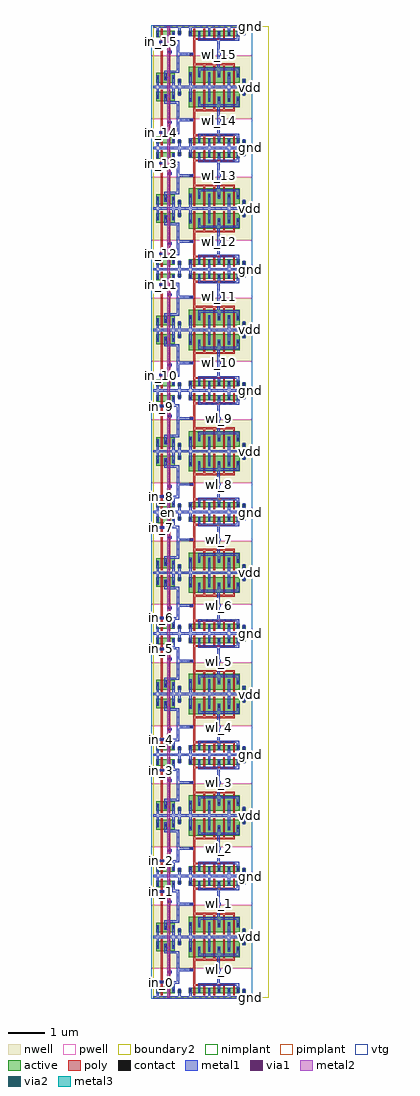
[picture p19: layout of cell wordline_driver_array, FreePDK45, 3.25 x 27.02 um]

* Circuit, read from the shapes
.subckt wordline_driver_array en gnd in_0 in_1 in_10 in_11 in_12 in_13 in_14 in_15 in_2 in_3 in_4 in_5 in_6 in_7 in_8 in_9 vdd wl_0 wl_1 wl_10 wl_11 wl_12 wl_13 wl_14 wl_15 wl_2 wl_3 wl_4 wl_5 wl_6 wl_7 wl_8 wl_9
M1 wordline_driver_0/pnand2_0/nmos_m1_w0_180_sm1_dactive_2/D in_0 gnd gnd nfet w=0.18u l=0.05u
M2 wordline_driver_1/pnand2_0/nmos_m1_w0_180_sm1_dactive_2/D in_1 gnd gnd nfet w=0.18u l=0.05u
M3 wordline_driver_2/pnand2_0/nmos_m1_w0_180_sm1_dactive_2/D in_2 gnd gnd nfet w=0.18u l=0.05u
M4 wordline_driver_3/pnand2_0/nmos_m1_w0_180_sm1_dactive_2/D in_3 gnd gnd nfet w=0.18u l=0.05u
M5 wordline_driver_4/pnand2_0/nmos_m1_w0_180_sm1_dactive_2/D in_4 gnd gnd nfet w=0.18u l=0.05u
M6 wordline_driver_5/pnand2_0/nmos_m1_w0_180_sm1_dactive_2/D in_5 gnd gnd nfet w=0.18u l=0.05u
M7 wordline_driver_6/pnand2_0/nmos_m1_w0_180_sm1_dactive_2/D in_6 gnd gnd nfet w=0.18u l=0.05u
M8 wordline_driver_7/pnand2_0/nmos_m1_w0_180_sm1_dactive_2/D in_7 gnd gnd nfet w=0.18u l=0.05u
M9 wordline_driver_8/pnand2_0/nmos_m1_w0_180_sm1_dactive_2/D in_8 gnd gnd nfet w=0.18u l=0.05u
M10 wordline_driver_9/pnand2_0/nmos_m1_w0_180_sm1_dactive_2/D in_9 gnd gnd nfet w=0.18u l=0.05u
M11 wordline_driver_10/pnand2_0/nmos_m1_w0_180_sm1_dactive_2/D in_10 gnd gnd nfet w=0.18u l=0.05u
M12 wordline_driver_11/pnand2_0/nmos_m1_w0_180_sm1_dactive_2/D in_11 gnd gnd nfet w=0.18u l=0.05u
M13 wordline_driver_12/pnand2_0/nmos_m1_w0_180_sm1_dactive_2/D in_12 gnd gnd nfet w=0.18u l=0.05u
M14 wordline_driver_13/pnand2_0/nmos_m1_w0_180_sm1_dactive_2/D in_13 gnd gnd nfet w=0.18u l=0.05u
M15 wordline_driver_14/pnand2_0/nmos_m1_w0_180_sm1_dactive_2/D in_14 gnd gnd nfet w=0.18u l=0.05u
M16 wordline_driver_15/pnand2_0/nmos_m1_w0_180_sm1_dactive_2/D in_15 gnd gnd nfet w=0.18u l=0.05u
M17 wordline_driver_0/pinv_0_1/A en wordline_driver_0/pnand2_0/nmos_m1_w0_180_sm1_dactive_2/D gnd nfet w=0.18u l=0.05u
M18 wordline_driver_1/pinv_0_1/A en wordline_driver_1/pnand2_0/nmos_m1_w0_180_sm1_dactive_2/D gnd nfet w=0.18u l=0.05u
M19 wordline_driver_2/pinv_0_1/A en wordline_driver_2/pnand2_0/nmos_m1_w0_180_sm1_dactive_2/D gnd nfet w=0.18u l=0.05u
M20 wordline_driver_3/pinv_0_1/A en wordline_driver_3/pnand2_0/nmos_m1_w0_180_sm1_dactive_2/D gnd nfet w=0.18u l=0.05u
M21 wordline_driver_4/pinv_0_1/A en wordline_driver_4/pnand2_0/nmos_m1_w0_180_sm1_dactive_2/D gnd nfet w=0.18u l=0.05u
M22 wordline_driver_5/pinv_0_1/A en wordline_driver_5/pnand2_0/nmos_m1_w0_180_sm1_dactive_2/D gnd nfet w=0.18u l=0.05u
M23 wordline_driver_6/pinv_0_1/A en wordline_driver_6/pnand2_0/nmos_m1_w0_180_sm1_dactive_2/D gnd nfet w=0.18u l=0.05u
M24 wordline_driver_7/pinv_0_1/A en wordline_driver_7/pnand2_0/nmos_m1_w0_180_sm1_dactive_2/D gnd nfet w=0.18u l=0.05u
M25 wordline_driver_8/pinv_0_1/A en wordline_driver_8/pnand2_0/nmos_m1_w0_180_sm1_dactive_2/D gnd nfet w=0.18u l=0.05u
M26 wordline_driver_9/pinv_0_1/A en wordline_driver_9/pnand2_0/nmos_m1_w0_180_sm1_dactive_2/D gnd nfet w=0.18u l=0.05u
M27 wordline_driver_10/pinv_0_1/A en wordline_driver_10/pnand2_0/nmos_m1_w0_180_sm1_dactive_2/D gnd nfet w=0.18u l=0.05u
M28 wordline_driver_11/pinv_0_1/A en wordline_driver_11/pnand2_0/nmos_m1_w0_180_sm1_dactive_2/D gnd nfet w=0.18u l=0.05u
M29 wordline_driver_12/pinv_0_1/A en wordline_driver_12/pnand2_0/nmos_m1_w0_180_sm1_dactive_2/D gnd nfet w=0.18u l=0.05u
M30 wordline_driver_13/pinv_0_1/A en wordline_driver_13/pnand2_0/nmos_m1_w0_180_sm1_dactive_2/D gnd nfet w=0.18u l=0.05u
M31 wordline_driver_14/pinv_0_1/A en wordline_driver_14/pnand2_0/nmos_m1_w0_180_sm1_dactive_2/D gnd nfet w=0.18u l=0.05u
M32 wordline_driver_15/pinv_0_1/A en wordline_driver_15/pnand2_0/nmos_m1_w0_180_sm1_dactive_2/D gnd nfet w=0.18u l=0.05u
M33 wl_0 wordline_driver_0/pinv_0_1/A gnd gnd nfet w=0.145u l=0.05u m=5
M34 wl_1 wordline_driver_1/pinv_0_1/A gnd gnd nfet w=0.145u l=0.05u m=5
M35 wl_2 wordline_driver_2/pinv_0_1/A gnd gnd nfet w=0.145u l=0.05u m=5
M36 wl_3 wordline_driver_3/pinv_0_1/A gnd gnd nfet w=0.145u l=0.05u m=5
M37 wl_4 wordline_driver_4/pinv_0_1/A gnd gnd nfet w=0.145u l=0.05u m=5
M38 wl_5 wordline_driver_5/pinv_0_1/A gnd gnd nfet w=0.145u l=0.05u m=5
M39 wl_6 wordline_driver_6/pinv_0_1/A gnd gnd nfet w=0.145u l=0.05u m=5
M40 wl_7 wordline_driver_7/pinv_0_1/A gnd gnd nfet w=0.145u l=0.05u m=5
M41 wl_8 wordline_driver_8/pinv_0_1/A gnd gnd nfet w=0.145u l=0.05u m=5
M42 wl_9 wordline_driver_9/pinv_0_1/A gnd gnd nfet w=0.145u l=0.05u m=5
M43 wl_10 wordline_driver_10/pinv_0_1/A gnd gnd nfet w=0.145u l=0.05u m=5
M44 wl_11 wordline_driver_11/pinv_0_1/A gnd gnd nfet w=0.145u l=0.05u m=5
M45 wl_12 wordline_driver_12/pinv_0_1/A gnd gnd nfet w=0.145u l=0.05u m=5
M46 wl_13 wordline_driver_13/pinv_0_1/A gnd gnd nfet w=0.145u l=0.05u m=5
M47 wl_14 wordline_driver_14/pinv_0_1/A gnd gnd nfet w=0.145u l=0.05u m=5
M48 wl_15 wordline_driver_15/pinv_0_1/A gnd gnd nfet w=0.145u l=0.05u m=5
M49 wordline_driver_0/pinv_0_1/A in_0 vdd vdd pfet w=0.27u l=0.05u
M50 wordline_driver_1/pinv_0_1/A in_1 vdd vdd pfet w=0.27u l=0.05u
M51 wordline_driver_2/pinv_0_1/A in_2 vdd vdd pfet w=0.27u l=0.05u
M52 wordline_driver_3/pinv_0_1/A in_3 vdd vdd pfet w=0.27u l=0.05u
M53 wordline_driver_4/pinv_0_1/A in_4 vdd vdd pfet w=0.27u l=0.05u
M54 wordline_driver_5/pinv_0_1/A in_5 vdd vdd pfet w=0.27u l=0.05u
M55 wordline_driver_6/pinv_0_1/A in_6 vdd vdd pfet w=0.27u l=0.05u
M56 wordline_driver_7/pinv_0_1/A in_7 vdd vdd pfet w=0.27u l=0.05u
M57 wordline_driver_8/pinv_0_1/A in_8 vdd vdd pfet w=0.27u l=0.05u
M58 wordline_driver_9/pinv_0_1/A in_9 vdd vdd pfet w=0.27u l=0.05u
M59 wordline_driver_10/pinv_0_1/A in_10 vdd vdd pfet w=0.27u l=0.05u
M60 wordline_driver_11/pinv_0_1/A in_11 vdd vdd pfet w=0.27u l=0.05u
M61 wordline_driver_12/pinv_0_1/A in_12 vdd vdd pfet w=0.27u l=0.05u
M62 wordline_driver_13/pinv_0_1/A in_13 vdd vdd pfet w=0.27u l=0.05u
M63 wordline_driver_14/pinv_0_1/A in_14 vdd vdd pfet w=0.27u l=0.05u
M64 wordline_driver_15/pinv_0_1/A in_15 vdd vdd pfet w=0.27u l=0.05u
M65 vdd en wordline_driver_0/pinv_0_1/A vdd pfet w=0.27u l=0.05u
M66 vdd en wordline_driver_1/pinv_0_1/A vdd pfet w=0.27u l=0.05u
M67 vdd en wordline_driver_2/pinv_0_1/A vdd pfet w=0.27u l=0.05u
M68 vdd en wordline_driver_3/pinv_0_1/A vdd pfet w=0.27u l=0.05u
M69 vdd en wordline_driver_4/pinv_0_1/A vdd pfet w=0.27u l=0.05u
M70 vdd en wordline_driver_5/pinv_0_1/A vdd pfet w=0.27u l=0.05u
M71 vdd en wordline_driver_6/pinv_0_1/A vdd pfet w=0.27u l=0.05u
M72 vdd en wordline_driver_7/pinv_0_1/A vdd pfet w=0.27u l=0.05u
M73 vdd en wordline_driver_8/pinv_0_1/A vdd pfet w=0.27u l=0.05u
M74 vdd en wordline_driver_9/pinv_0_1/A vdd pfet w=0.27u l=0.05u
M75 vdd en wordline_driver_10/pinv_0_1/A vdd pfet w=0.27u l=0.05u
M76 vdd en wordline_driver_11/pinv_0_1/A vdd pfet w=0.27u l=0.05u
M77 vdd en wordline_driver_12/pinv_0_1/A vdd pfet w=0.27u l=0.05u
M78 vdd en wordline_driver_13/pinv_0_1/A vdd pfet w=0.27u l=0.05u
M79 vdd en wordline_driver_14/pinv_0_1/A vdd pfet w=0.27u l=0.05u
M80 vdd en wordline_driver_15/pinv_0_1/A vdd pfet w=0.27u l=0.05u
M81 wl_0 wordline_driver_0/pinv_0_1/A vdd vdd pfet w=0.4325u l=0.05u m=5
M82 wl_1 wordline_driver_1/pinv_0_1/A vdd vdd pfet w=0.4325u l=0.05u m=5
M83 wl_2 wordline_driver_2/pinv_0_1/A vdd vdd pfet w=0.4325u l=0.05u m=5
M84 wl_3 wordline_driver_3/pinv_0_1/A vdd vdd pfet w=0.4325u l=0.05u m=5
M85 wl_4 wordline_driver_4/pinv_0_1/A vdd vdd pfet w=0.4325u l=0.05u m=5
M86 wl_5 wordline_driver_5/pinv_0_1/A vdd vdd pfet w=0.4325u l=0.05u m=5
M87 wl_6 wordline_driver_6/pinv_0_1/A vdd vdd pfet w=0.4325u l=0.05u m=5
M88 wl_7 wordline_driver_7/pinv_0_1/A vdd vdd pfet w=0.4325u l=0.05u m=5
M89 wl_8 wordline_driver_8/pinv_0_1/A vdd vdd pfet w=0.4325u l=0.05u m=5
M90 wl_9 wordline_driver_9/pinv_0_1/A vdd vdd pfet w=0.4325u l=0.05u m=5
M91 wl_10 wordline_driver_10/pinv_0_1/A vdd vdd pfet w=0.4325u l=0.05u m=5
M92 wl_11 wordline_driver_11/pinv_0_1/A vdd vdd pfet w=0.4325u l=0.05u m=5
M93 wl_12 wordline_driver_12/pinv_0_1/A vdd vdd pfet w=0.4325u l=0.05u m=5
M94 wl_13 wordline_driver_13/pinv_0_1/A vdd vdd pfet w=0.4325u l=0.05u m=5
M95 wl_14 wordline_driver_14/pinv_0_1/A vdd vdd pfet w=0.4325u l=0.05u m=5
M96 wl_15 wordline_driver_15/pinv_0_1/A vdd vdd pfet w=0.4325u l=0.05u m=5
.ends

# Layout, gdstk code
import gdstk
lib = gdstk.Library(unit=1e-6, precision=5e-10)
def R(c, l, rs):  # rectangles x0, y0, x1, y1
    for r in rs: c.add(gdstk.rectangle(r[:2], r[2:], *l))
def A(c, l, x, y, w, h, nx, ny, dx, dy):  # array of equal rectangles
    R(c, l, [(x+i*dx, y+j*dy, x+i*dx+w, y+j*dy+h) for i in range(nx) for j in range(ny)])
active = (1, 0)
pwell = (2, 0)
nwell = (3, 0)
nimplant = (4, 0)
pimplant = (5, 0)
vtg = (6, 0)
poly = (9, 0)
contact = (10, 0)
metal1 = (11, 0)
via1 = (12, 0)
metal2 = (13, 0)
via2 = (14, 0)
metal3 = (15, 0)
boundary2 = (239, 0)

contact_10 = lib.new_cell('contact_10')
R(contact_10, active, [(0,0.0225,0.09,0.1125)])
R(contact_10, nwell, [(-0.055,-0.0325,0.145,0.1675)])
R(contact_10, pimplant, [(0,0.0225,0.09,0.1125)])
R(contact_10, contact, [(0.0125,0.035,0.0775,0.1)])
R(contact_10, metal1, [(0.0125,0,0.0775,0.135)])
R(contact_10, boundary2, [(-0.055,-0.0325,0.145,0.1675)])

pmos_m1_w0_270_sm1_dm1 = lib.new_cell('pmos_m1_w0_270_sm1_dm1')
R(pmos_m1_w0_270_sm1_dm1, active, [(0,0,0.305,0.27)])
R(pmos_m1_w0_270_sm1_dm1, nwell, [(-0.08,-0.08,0.385,0.35)])
R(pmos_m1_w0_270_sm1_dm1, pimplant, [(0,0,0.305,0.27)])
R(pmos_m1_w0_270_sm1_dm1, vtg, [(-0.08,-0.08,0.385,0.35)])
R(pmos_m1_w0_270_sm1_dm1, poly, [(0.1275,-0.055,0.1775,0.325), (0.1275,-0.055,0.1775,0.325)])
R(pmos_m1_w0_270_sm1_dm1, metal1, [(0.0125,0.0675,0.0775,0.2025), (0.2275,0.0675,0.2925,0.2025)])
R(pmos_m1_w0_270_sm1_dm1, boundary2, [(-0.08,-0.08,0.385,0.35)])
pmos_m1_w0_270_sm1_dm1.add(gdstk.Reference(contact_10, (0,0.0675)))
pmos_m1_w0_270_sm1_dm1.add(gdstk.Reference(contact_10, (0.215,0.0675)))
pmos_m1_w0_270_sm1_dm1.add(gdstk.Label('G', (0.1525,0.135), layer=9, texttype=0))
pmos_m1_w0_270_sm1_dm1.add(gdstk.Label('S', (0.045,0.135), layer=11, texttype=0))
pmos_m1_w0_270_sm1_dm1.add(gdstk.Label('D', (0.26,0.135), layer=11, texttype=0))

contact_9 = lib.new_cell('contact_9')
R(contact_9, active, [(0,0.0225,0.09,0.1125)])
R(contact_9, pwell, [(-0.055,-0.0325,0.145,0.1675)])
R(contact_9, nimplant, [(0,0.0225,0.09,0.1125)])
R(contact_9, contact, [(0.0125,0.035,0.0775,0.1)])
R(contact_9, metal1, [(0.0125,0,0.0775,0.135)])
R(contact_9, boundary2, [(-0.055,-0.0325,0.145,0.1675)])

nmos_m1_w0_180_sm1_dacti = lib.new_cell('nmos_m1_w0_180_sm1_dactive')
R(nmos_m1_w0_180_sm1_dacti, active, [(0,0,0.305,0.18), (0.215,0.045,0.305,0.135)])
R(nmos_m1_w0_180_sm1_dacti, pwell, [(-0.08,-0.08,0.385,0.26)])
R(nmos_m1_w0_180_sm1_dacti, nimplant, [(0,0,0.305,0.18)])
R(nmos_m1_w0_180_sm1_dacti, vtg, [(-0.08,-0.08,0.385,0.26)])
R(nmos_m1_w0_180_sm1_dacti, poly, [(0.1275,-0.055,0.1775,0.235), (0.1275,-0.055,0.1775,0.235)])
R(nmos_m1_w0_180_sm1_dacti, metal1, [(0.0125,0.0225,0.0775,0.1575)])
R(nmos_m1_w0_180_sm1_dacti, boundary2, [(-0.08,-0.08,0.385,0.26)])
nmos_m1_w0_180_sm1_dacti.add(gdstk.Reference(contact_9, (0,0.0225)))
nmos_m1_w0_180_sm1_dacti.add(gdstk.Label('G', (0.1525,0.09), layer=9, texttype=0))
nmos_m1_w0_180_sm1_dacti.add(gdstk.Label('S', (0.045,0.09), layer=11, texttype=0))
nmos_m1_w0_180_sm1_dacti.add(gdstk.Label('D', (0.26,0.09), layer=1, texttype=0))

nmos_m1_w0_180_sactive_d = lib.new_cell('nmos_m1_w0_180_sactive_dm1')
R(nmos_m1_w0_180_sactive_d, active, [(0,0,0.305,0.18), (0,0.045,0.09,0.135)])
R(nmos_m1_w0_180_sactive_d, pwell, [(-0.08,-0.08,0.385,0.26)])
R(nmos_m1_w0_180_sactive_d, nimplant, [(0,0,0.305,0.18)])
R(nmos_m1_w0_180_sactive_d, vtg, [(-0.08,-0.08,0.385,0.26)])
R(nmos_m1_w0_180_sactive_d, poly, [(0.1275,-0.055,0.1775,0.235), (0.1275,-0.055,0.1775,0.235)])
R(nmos_m1_w0_180_sactive_d, metal1, [(0.2275,0.0225,0.2925,0.1575)])
R(nmos_m1_w0_180_sactive_d, boundary2, [(-0.08,-0.08,0.385,0.26)])
nmos_m1_w0_180_sactive_d.add(gdstk.Reference(contact_9, (0.215,0.0225)))
nmos_m1_w0_180_sactive_d.add(gdstk.Label('G', (0.1525,0.09), layer=9, texttype=0))
nmos_m1_w0_180_sactive_d.add(gdstk.Label('S', (0.045,0.09), layer=1, texttype=0))
nmos_m1_w0_180_sactive_d.add(gdstk.Label('D', (0.26,0.09), layer=11, texttype=0))

contact_11 = lib.new_cell('contact_11')
R(contact_11, active, [(0,0.0225,0.09,0.1125)])
R(contact_11, nwell, [(-0.055,-0.0325,0.145,0.1675)])
R(contact_11, nimplant, [(0,0.0225,0.09,0.1125)])
R(contact_11, contact, [(0.0125,0.035,0.0775,0.1)])
R(contact_11, metal1, [(0.0125,0,0.0775,0.135)])
R(contact_11, boundary2, [(-0.055,-0.0325,0.145,0.1675)])

contact_12 = lib.new_cell('contact_12')
R(contact_12, active, [(0,0.0225,0.09,0.1125)])
R(contact_12, pwell, [(-0.055,-0.0325,0.145,0.1675)])
R(contact_12, pimplant, [(0,0.0225,0.09,0.1125)])
R(contact_12, contact, [(0.0125,0.035,0.0775,0.1)])
R(contact_12, metal1, [(0.0125,0,0.0775,0.135)])
R(contact_12, boundary2, [(-0.055,-0.0325,0.145,0.1675)])

contact_13 = lib.new_cell('contact_13')
R(contact_13, poly, [(0.03,0,0.105,0.075)])
R(contact_13, contact, [(0.035,0.005,0.1,0.07)])
R(contact_13, metal1, [(0,0.005,0.135,0.07)])
R(contact_13, boundary2, [(0,0,0.135,0.075)])

pnand2 = lib.new_cell('pnand2')
R(pnand2, pwell, [(-0.055,-0.0325,0.9575,0.8075)])
R(pnand2, nwell, [(-0.055,0.8075,0.9575,1.715)])
R(pnand2, vtg, [(-0.055,-0.0325,0.9575,0.8075), (-0.055,0.8075,0.9575,1.715)])
R(pnand2, poly, [(0.2075,0.36,0.2575,1.23), (0.4225,0.36,0.4725,1.23), (0.2075,0.39,0.2325,0.465), (0.4225,0.67,0.4475,0.745)])
R(pnand2, metal1, [(0,-0.0325,0.9025,0.0325), (0.0925,-0.0325,0.1575,0.1475), (0.6925,0,0.7575,0.17), (0.5225,0.2825,0.5875,0.4125), (0.5225,0.38,0.5875,0.445), (0.555,0.38,0.685,0.445), (0.6525,0.38,0.7175,0.445), (0.165,0.395,0.3,0.46), (0.6525,0.4125,0.7175,1.255), (0.38,0.675,0.515,0.74), (0.3075,1.2225,0.3725,1.2875), (0.34,1.2225,0.685,1.2875), (0.6525,1.2225,0.7175,1.2875), (0.3075,1.255,0.3725,1.3525), (0.0925,1.3525,0.1575,1.7125), (0.5225,1.3525,0.5875,1.7125), (0.6925,1.51,0.7575,1.68), (0,1.6475,0.9025,1.7125)])
R(pnand2, boundary2, [(0,0,0.9025,1.68), (0,0,0.9025,1.68)])
pnand2.add(gdstk.Reference(pmos_m1_w0_270_sm1_dm1, (0.08,1.285)))
pnand2.add(gdstk.Reference(pmos_m1_w0_270_sm1_dm1, (0.295,1.285)))
pnand2.add(gdstk.Reference(nmos_m1_w0_180_sm1_dacti, (0.08,0.125)))
pnand2.add(gdstk.Reference(nmos_m1_w0_180_sactive_d, (0.295,0.125)))
pnand2.add(gdstk.Reference(contact_11, (0.68,1.4425)))
pnand2.add(gdstk.Reference(contact_12, (0.68,0.1025)))
pnand2.add(gdstk.Reference(contact_13, (0.165,0.39)))
pnand2.add(gdstk.Reference(contact_13, (0.38,0.67)))
pnand2.add(gdstk.Label('Z', (0.685,1.255), layer=11, texttype=0))
pnand2.add(gdstk.Label('gnd', (0.451,0), layer=11, texttype=0))
pnand2.add(gdstk.Label('vdd', (0.451,1.68), layer=11, texttype=0))
pnand2.add(gdstk.Label('A', (0.2325,0.4275), layer=11, texttype=0))
pnand2.add(gdstk.Label('B', (0.4475,0.7075), layer=11, texttype=0))

pmos_m5_w0_432_sm1_dm1_d = lib.new_cell('pmos_m5_w0_432_sm1_dm1_da_p')
R(pmos_m5_w0_432_sm1_dm1_d, active, [(0,0,1.405,0.4325)])
R(pmos_m5_w0_432_sm1_dm1_d, nwell, [(-0.08,-0.08,1.485,0.5125)])
R(pmos_m5_w0_432_sm1_dm1_d, pimplant, [(0,0,1.405,0.4325)])
R(pmos_m5_w0_432_sm1_dm1_d, vtg, [(-0.08,-0.08,1.485,0.5125)])
A(pmos_m5_w0_432_sm1_dm1_d, poly, 0.1275, -0.055, 0.05, 0.5425, 5, 1, 0.275, 0)
R(pmos_m5_w0_432_sm1_dm1_d, poly, [(0.1275,-0.105,1.2775,-0.055)])
R(pmos_m5_w0_432_sm1_dm1_d, metal1, [(0.2575,0.02,1.3925,0.085), (0.2575,0.05,0.3225,0.215), (0.8075,0.05,0.8725,0.215), (1.3275,0.05,1.3925,0.215), (0.0125,0.15,0.0775,0.285), (0.5325,0.15,0.5975,0.285), (1.0825,0.15,1.1475,0.285)])
R(pmos_m5_w0_432_sm1_dm1_d, boundary2, [(-0.08,-0.105,1.485,0.5125)])
pmos_m5_w0_432_sm1_dm1_d.add(gdstk.Reference(contact_10, (0,0.15)))
pmos_m5_w0_432_sm1_dm1_d.add(gdstk.Reference(contact_10, (0.245,0.15)))
pmos_m5_w0_432_sm1_dm1_d.add(gdstk.Reference(contact_10, (0.52,0.15)))
pmos_m5_w0_432_sm1_dm1_d.add(gdstk.Reference(contact_10, (0.795,0.15)))
pmos_m5_w0_432_sm1_dm1_d.add(gdstk.Reference(contact_10, (1.07,0.15)))
pmos_m5_w0_432_sm1_dm1_d.add(gdstk.Reference(contact_10, (1.315,0.15)))
pmos_m5_w0_432_sm1_dm1_d.add(gdstk.Label('G', (0.7025,-0.08), layer=9, texttype=0))
pmos_m5_w0_432_sm1_dm1_d.add(gdstk.Label('S', (0.565,0.2175), layer=11, texttype=0))
pmos_m5_w0_432_sm1_dm1_d.add(gdstk.Label('S', (1.115,0.2175), layer=11, texttype=0))
pmos_m5_w0_432_sm1_dm1_d.add(gdstk.Label('S', (0.045,0.2175), layer=11, texttype=0))
pmos_m5_w0_432_sm1_dm1_d.add(gdstk.Label('D', (0.825,0.0525), layer=11, texttype=0))

nmos_m5_w0_145_sm1_dm1_d = lib.new_cell('nmos_m5_w0_145_sm1_dm1_da_p')
R(nmos_m5_w0_145_sm1_dm1_d, active, [(0,0,1.405,0.145)])
R(nmos_m5_w0_145_sm1_dm1_d, pwell, [(-0.08,-0.08,1.485,0.225)])
R(nmos_m5_w0_145_sm1_dm1_d, nimplant, [(0,0,1.405,0.145)])
R(nmos_m5_w0_145_sm1_dm1_d, vtg, [(-0.08,-0.08,1.485,0.225)])
A(nmos_m5_w0_145_sm1_dm1_d, poly, 0.1275, -0.055, 0.05, 0.255, 5, 1, 0.275, 0)
R(nmos_m5_w0_145_sm1_dm1_d, poly, [(0.1275,0.2,1.2775,0.25)])
R(nmos_m5_w0_145_sm1_dm1_d, metal1, [(0.0125,0.005,0.0775,0.14), (0.5325,0.005,0.5975,0.14), (1.0825,0.005,1.1475,0.14), (0.2575,0.0725,0.3225,0.2375), (0.8075,0.0725,0.8725,0.2375), (1.3275,0.0725,1.3925,0.2375), (0.2575,0.205,1.3925,0.27)])
R(nmos_m5_w0_145_sm1_dm1_d, boundary2, [(-0.08,-0.08,1.485,0.27)])
nmos_m5_w0_145_sm1_dm1_d.add(gdstk.Reference(contact_9, (0,0.005)))
nmos_m5_w0_145_sm1_dm1_d.add(gdstk.Reference(contact_9, (0.245,0.005)))
nmos_m5_w0_145_sm1_dm1_d.add(gdstk.Reference(contact_9, (0.52,0.005)))
nmos_m5_w0_145_sm1_dm1_d.add(gdstk.Reference(contact_9, (0.795,0.005)))
nmos_m5_w0_145_sm1_dm1_d.add(gdstk.Reference(contact_9, (1.07,0.005)))
nmos_m5_w0_145_sm1_dm1_d.add(gdstk.Reference(contact_9, (1.315,0.005)))
nmos_m5_w0_145_sm1_dm1_d.add(gdstk.Label('G', (0.7025,0.225), layer=9, texttype=0))
nmos_m5_w0_145_sm1_dm1_d.add(gdstk.Label('S', (0.045,0.0725), layer=11, texttype=0))
nmos_m5_w0_145_sm1_dm1_d.add(gdstk.Label('S', (0.565,0.0725), layer=11, texttype=0))
nmos_m5_w0_145_sm1_dm1_d.add(gdstk.Label('S', (1.115,0.0725), layer=11, texttype=0))
nmos_m5_w0_145_sm1_dm1_d.add(gdstk.Label('D', (0.825,0.2375), layer=11, texttype=0))

pinv_0 = lib.new_cell('pinv_0')
R(pinv_0, pwell, [(-0.055,-0.0325,1.8425,0.8075)])
R(pinv_0, nwell, [(-0.055,0.8075,1.8425,1.715)])
R(pinv_0, vtg, [(-0.055,-0.0325,1.8425,0.8075), (-0.055,0.8075,1.8425,1.715)])
R(pinv_0, poly, [(0.2075,0.375,0.2575,1.0175), (0.14,0.73,0.2075,0.805)])
R(pinv_0, metal1, [(0,-0.0325,1.7875,0.0325), (0.0925,-0.0325,0.1575,0.13), (0.6125,-0.0325,0.6775,0.13), (1.1625,-0.0325,1.2275,0.13), (1.5775,0,1.6425,0.17), (0.8725,0.33,0.9375,1.2075), (0.0725,0.735,0.2075,0.8), (0.905,0.735,0.97,0.8), (0.0925,1.2725,0.1575,1.7125), (0.6125,1.2725,0.6775,1.7125), (1.1625,1.2725,1.2275,1.7125), (1.5775,1.51,1.6425,1.68), (0,1.6475,1.7875,1.7125)])
R(pinv_0, boundary2, [(0,0,1.7875,1.68), (0,0,1.7875,1.68)])
pinv_0.add(gdstk.Reference(pmos_m5_w0_432_sm1_dm1_d, (0.08,1.1225)))
pinv_0.add(gdstk.Reference(nmos_m5_w0_145_sm1_dm1_d, (0.08,0.125)))
pinv_0.add(gdstk.Reference(contact_11, (1.565,1.4425)))
pinv_0.add(gdstk.Reference(contact_12, (1.565,0.1025)))
pinv_0.add(gdstk.Reference(contact_13, (0.0725,0.73)))
pinv_0.add(gdstk.Label('A', (0.14,0.7675), layer=11, texttype=0))
pinv_0.add(gdstk.Label('Z', (0.9375,0.7675), layer=11, texttype=0))
pinv_0.add(gdstk.Label('gnd', (0.894,0), layer=11, texttype=0))
pinv_0.add(gdstk.Label('vdd', (0.894,1.68), layer=11, texttype=0))

wordline_driver = lib.new_cell('wordline_driver')
R(wordline_driver, metal1, [(0,-0.0325,2.69,0.0325), (0.165,0.395,0.3,0.46), (0.38,0.675,0.515,0.74), (0.6525,0.735,0.7175,0.8), (0.685,0.735,1.0425,0.8), (1.8075,0.735,1.8725,0.8), (0.6525,0.7675,0.7175,1.255), (0,1.6475,2.69,1.7125)])
R(wordline_driver, boundary2, [(0,0,2.69,1.68)])
wordline_driver.add(gdstk.Reference(pnand2, (0,0)))
wordline_driver.add(gdstk.Reference(pinv_0, (0.9025,0)))
wordline_driver.add(gdstk.Label('Z', (1.84,0.7675), layer=11, texttype=0))
wordline_driver.add(gdstk.Label('A', (0.2325,0.4275), layer=11, texttype=0))
wordline_driver.add(gdstk.Label('B', (0.4475,0.7075), layer=11, texttype=0))
wordline_driver.add(gdstk.Label('gnd', (1.345,0), layer=11, texttype=0))
wordline_driver.add(gdstk.Label('vdd', (1.345,1.68), layer=11, texttype=0))

contact_16 = lib.new_cell('contact_16')
R(contact_16, metal1, [(0,0.035,0.135,0.1)])
R(contact_16, via1, [(0.035,0.035,0.1,0.1)])
R(contact_16, metal2, [(0.0325,0,0.1025,0.135)])
R(contact_16, boundary2, [(0,0,0.135,0.135)])

contact_17 = lib.new_cell('contact_17')
R(contact_17, metal2, [(0.0325,0,0.1025,0.135)])
R(contact_17, via2, [(0.035,0.035,0.1,0.1)])
R(contact_17, metal3, [(0,0.0325,0.135,0.1025)])
R(contact_17, boundary2, [(0,0,0.135,0.135)])

wordline_driver_array = lib.new_cell('wordline_driver_array')
R(wordline_driver_array, metal1, [(0.165,0.395,0.3,0.46), (1.8075,0.735,1.8725,0.8), (1.8075,2.56,1.8725,2.625), (0.165,2.9,0.3,2.965), (0.165,3.755,0.3,3.82), (1.8075,4.095,1.8725,4.16), (1.8075,5.92,1.8725,5.985), (0.165,6.26,0.3,6.325), (0.165,7.115,0.3,7.18), (1.8075,7.455,1.8725,7.52), (1.8075,9.28,1.8725,9.345), (0.165,9.62,0.3,9.685), (0.165,10.475,0.3,10.54), (1.8075,10.815,1.8725,10.88), (1.8075,12.64,1.8725,12.705), (0.165,12.98,0.3,13.045), (0.165,13.835,0.3,13.9), (1.8075,14.175,1.8725,14.24), (1.8075,16,1.8725,16.065), (0.165,16.34,0.3,16.405), (0.165,17.195,0.3,17.26), (1.8075,17.535,1.8725,17.6), (1.8075,19.36,1.8725,19.425), (0.165,19.7,0.3,19.765), (0.165,20.555,0.3,20.62), (1.8075,20.895,1.8725,20.96), (1.8075,22.72,1.8725,22.785), (0.165,23.06,0.3,23.125), (0.165,23.915,0.3,23.98), (1.8075,24.255,1.8725,24.32), (1.8075,26.08,1.8725,26.145), (0.165,26.42,0.3,26.485)])
R(wordline_driver_array, metal2, [(0.38,0,0.45,26.88)])
A(wordline_driver_array, metal3, 2.6225, 1.6125, 0.135, 0.135, 1, 3, 0, 1.68)
A(wordline_driver_array, metal3, 2.6225, 4.9725, 0.135, 0.135, 1, 3, 0, 1.68)
A(wordline_driver_array, metal3, 2.6225, 8.3325, 0.135, 0.135, 1, 5, 0, 1.68)
A(wordline_driver_array, metal3, 2.6225, 15.0525, 0.135, 0.135, 1, 8, 0, 1.68)
R(wordline_driver_array, metal3, [(2.6225,-0.0675,2.7575,0.0675), (2.6225,1.6125,2.7575,1.7475)])
R(wordline_driver_array, boundary2, [(0,0,3.195,26.88)])
wordline_driver_array.add(gdstk.Reference(wordline_driver, (0,0)))
wordline_driver_array.add(gdstk.Reference(wordline_driver, (0,3.36), x_reflection=True))
wordline_driver_array.add(gdstk.Reference(wordline_driver, (0,3.36)))
wordline_driver_array.add(gdstk.Reference(wordline_driver, (0,6.72), x_reflection=True))
wordline_driver_array.add(gdstk.Reference(wordline_driver, (0,6.72)))
wordline_driver_array.add(gdstk.Reference(wordline_driver, (0,10.08), x_reflection=True))
wordline_driver_array.add(gdstk.Reference(wordline_driver, (0,10.08)))
wordline_driver_array.add(gdstk.Reference(wordline_driver, (0,13.44), x_reflection=True))
wordline_driver_array.add(gdstk.Reference(wordline_driver, (0,13.44)))
wordline_driver_array.add(gdstk.Reference(wordline_driver, (0,16.8), x_reflection=True))
wordline_driver_array.add(gdstk.Reference(wordline_driver, (0,16.8)))
wordline_driver_array.add(gdstk.Reference(wordline_driver, (0,20.16), x_reflection=True))
wordline_driver_array.add(gdstk.Reference(wordline_driver, (0,20.16)))
wordline_driver_array.add(gdstk.Reference(wordline_driver, (0,23.52), x_reflection=True))
wordline_driver_array.add(gdstk.Reference(wordline_driver, (0,23.52)))
wordline_driver_array.add(gdstk.Reference(wordline_driver, (0,26.88), x_reflection=True))
wordline_driver_array.add(gdstk.Reference(contact_16, (0.38,0.64)))
wordline_driver_array.add(gdstk.Reference(contact_16, (0.38,2.585)))
wordline_driver_array.add(gdstk.Reference(contact_16, (0.38,4)))
wordline_driver_array.add(gdstk.Reference(contact_16, (0.38,5.945)))
wordline_driver_array.add(gdstk.Reference(contact_16, (0.38,7.36)))
wordline_driver_array.add(gdstk.Reference(contact_16, (0.38,9.305)))
wordline_driver_array.add(gdstk.Reference(contact_16, (0.38,10.72)))
wordline_driver_array.add(gdstk.Reference(contact_16, (0.38,12.665)))
wordline_driver_array.add(gdstk.Reference(contact_16, (0.38,14.08)))
wordline_driver_array.add(gdstk.Reference(contact_16, (0.38,16.025)))
wordline_driver_array.add(gdstk.Reference(contact_16, (0.38,17.44)))
wordline_driver_array.add(gdstk.Reference(contact_16, (0.38,19.385)))
wordline_driver_array.add(gdstk.Reference(contact_16, (0.38,20.8)))
wordline_driver_array.add(gdstk.Reference(contact_16, (0.38,22.745)))
wordline_driver_array.add(gdstk.Reference(contact_16, (0.38,24.16)))
wordline_driver_array.add(gdstk.Reference(contact_16, (0.38,26.105)))
wordline_driver_array.add(gdstk.Reference(contact_16, (2.6225,1.6125)))
wordline_driver_array.add(gdstk.Reference(contact_17, (2.6225,1.6125)))
wordline_driver_array.add(gdstk.Reference(contact_16, (2.6225,-0.0675)))
wordline_driver_array.add(gdstk.Reference(contact_17, (2.6225,-0.0675)))
wordline_driver_array.add(gdstk.Reference(contact_16, (2.6225,1.6125)))
wordline_driver_array.add(gdstk.Reference(contact_17, (2.6225,1.6125)))
wordline_driver_array.add(gdstk.Reference(contact_16, (2.6225,3.2925)))
wordline_driver_array.add(gdstk.Reference(contact_17, (2.6225,3.2925)))
wordline_driver_array.add(gdstk.Reference(contact_16, (2.6225,4.9725)))
wordline_driver_array.add(gdstk.Reference(contact_17, (2.6225,4.9725)))
wordline_driver_array.add(gdstk.Reference(contact_16, (2.6225,3.2925)))
wordline_driver_array.add(gdstk.Reference(contact_17, (2.6225,3.2925)))
wordline_driver_array.add(gdstk.Reference(contact_16, (2.6225,4.9725)))
wordline_driver_array.add(gdstk.Reference(contact_17, (2.6225,4.9725)))
wordline_driver_array.add(gdstk.Reference(contact_16, (2.6225,6.6525)))
wordline_driver_array.add(gdstk.Reference(contact_17, (2.6225,6.6525)))
wordline_driver_array.add(gdstk.Reference(contact_16, (2.6225,8.3325)))
wordline_driver_array.add(gdstk.Reference(contact_17, (2.6225,8.3325)))
wordline_driver_array.add(gdstk.Reference(contact_16, (2.6225,6.6525)))
wordline_driver_array.add(gdstk.Reference(contact_17, (2.6225,6.6525)))
wordline_driver_array.add(gdstk.Reference(contact_16, (2.6225,8.3325)))
wordline_driver_array.add(gdstk.Reference(contact_17, (2.6225,8.3325)))
wordline_driver_array.add(gdstk.Reference(contact_16, (2.6225,10.0125)))
wordline_driver_array.add(gdstk.Reference(contact_17, (2.6225,10.0125)))
wordline_driver_array.add(gdstk.Reference(contact_16, (2.6225,11.6925)))
wordline_driver_array.add(gdstk.Reference(contact_17, (2.6225,11.6925)))
wordline_driver_array.add(gdstk.Reference(contact_16, (2.6225,10.0125)))
wordline_driver_array.add(gdstk.Reference(contact_17, (2.6225,10.0125)))
wordline_driver_array.add(gdstk.Reference(contact_16, (2.6225,11.6925)))
wordline_driver_array.add(gdstk.Reference(contact_17, (2.6225,11.6925)))
wordline_driver_array.add(gdstk.Reference(contact_16, (2.6225,13.3725)))
wordline_driver_array.add(gdstk.Reference(contact_17, (2.6225,13.3725)))
wordline_driver_array.add(gdstk.Reference(contact_16, (2.6225,15.0525)))
wordline_driver_array.add(gdstk.Reference(contact_17, (2.6225,15.0525)))
wordline_driver_array.add(gdstk.Reference(contact_16, (2.6225,13.3725)))
wordline_driver_array.add(gdstk.Reference(contact_17, (2.6225,13.3725)))
wordline_driver_array.add(gdstk.Reference(contact_16, (2.6225,15.0525)))
wordline_driver_array.add(gdstk.Reference(contact_17, (2.6225,15.0525)))
wordline_driver_array.add(gdstk.Reference(contact_16, (2.6225,16.7325)))
wordline_driver_array.add(gdstk.Reference(contact_17, (2.6225,16.7325)))
wordline_driver_array.add(gdstk.Reference(contact_16, (2.6225,18.4125)))
wordline_driver_array.add(gdstk.Reference(contact_17, (2.6225,18.4125)))
wordline_driver_array.add(gdstk.Reference(contact_16, (2.6225,16.7325)))
wordline_driver_array.add(gdstk.Reference(contact_17, (2.6225,16.7325)))
wordline_driver_array.add(gdstk.Reference(contact_16, (2.6225,18.4125)))
wordline_driver_array.add(gdstk.Reference(contact_17, (2.6225,18.4125)))
wordline_driver_array.add(gdstk.Reference(contact_16, (2.6225,20.0925)))
wordline_driver_array.add(gdstk.Reference(contact_17, (2.6225,20.0925)))
wordline_driver_array.add(gdstk.Reference(contact_16, (2.6225,21.7725)))
wordline_driver_array.add(gdstk.Reference(contact_17, (2.6225,21.7725)))
wordline_driver_array.add(gdstk.Reference(contact_16, (2.6225,20.0925)))
wordline_driver_array.add(gdstk.Reference(contact_17, (2.6225,20.0925)))
wordline_driver_array.add(gdstk.Reference(contact_16, (2.6225,21.7725)))
wordline_driver_array.add(gdstk.Reference(contact_17, (2.6225,21.7725)))
wordline_driver_array.add(gdstk.Reference(contact_16, (2.6225,23.4525)))
wordline_driver_array.add(gdstk.Reference(contact_17, (2.6225,23.4525)))
wordline_driver_array.add(gdstk.Reference(contact_16, (2.6225,25.1325)))
wordline_driver_array.add(gdstk.Reference(contact_17, (2.6225,25.1325)))
wordline_driver_array.add(gdstk.Reference(contact_16, (2.6225,23.4525)))
wordline_driver_array.add(gdstk.Reference(contact_17, (2.6225,23.4525)))
wordline_driver_array.add(gdstk.Reference(contact_16, (2.6225,25.1325)))
wordline_driver_array.add(gdstk.Reference(contact_17, (2.6225,25.1325)))
wordline_driver_array.add(gdstk.Reference(contact_16, (2.6225,26.8125)))
wordline_driver_array.add(gdstk.Reference(contact_17, (2.6225,26.8125)))
wordline_driver_array.add(gdstk.Label('en', (0.415,13.44), layer=13, texttype=0))
wordline_driver_array.add(gdstk.Label('in_0', (0.2325,0.4275), layer=11, texttype=0))
wordline_driver_array.add(gdstk.Label('wl_0', (1.84,0.7675), layer=11, texttype=0))
wordline_driver_array.add(gdstk.Label('in_1', (0.2325,2.9325), layer=11, texttype=0))
wordline_driver_array.add(gdstk.Label('wl_1', (1.84,2.5925), layer=11, texttype=0))
wordline_driver_array.add(gdstk.Label('in_2', (0.2325,3.7875), layer=11, texttype=0))
wordline_driver_array.add(gdstk.Label('wl_2', (1.84,4.1275), layer=11, texttype=0))
wordline_driver_array.add(gdstk.Label('in_3', (0.2325,6.2925), layer=11, texttype=0))
wordline_driver_array.add(gdstk.Label('wl_3', (1.84,5.9525), layer=11, texttype=0))
wordline_driver_array.add(gdstk.Label('in_4', (0.2325,7.1475), layer=11, texttype=0))
wordline_driver_array.add(gdstk.Label('wl_4', (1.84,7.4875), layer=11, texttype=0))
wordline_driver_array.add(gdstk.Label('in_5', (0.2325,9.6525), layer=11, texttype=0))
wordline_driver_array.add(gdstk.Label('wl_5', (1.84,9.3125), layer=11, texttype=0))
wordline_driver_array.add(gdstk.Label('in_6', (0.2325,10.5075), layer=11, texttype=0))
wordline_driver_array.add(gdstk.Label('wl_6', (1.84,10.8475), layer=11, texttype=0))
wordline_driver_array.add(gdstk.Label('in_7', (0.2325,13.0125), layer=11, texttype=0))
wordline_driver_array.add(gdstk.Label('wl_7', (1.84,12.6725), layer=11, texttype=0))
wordline_driver_array.add(gdstk.Label('in_8', (0.2325,13.8675), layer=11, texttype=0))
wordline_driver_array.add(gdstk.Label('wl_8', (1.84,14.2075), layer=11, texttype=0))
wordline_driver_array.add(gdstk.Label('in_9', (0.2325,16.3725), layer=11, texttype=0))
wordline_driver_array.add(gdstk.Label('wl_9', (1.84,16.0325), layer=11, texttype=0))
wordline_driver_array.add(gdstk.Label('in_10', (0.2325,17.2275), layer=11, texttype=0))
wordline_driver_array.add(gdstk.Label('wl_10', (1.84,17.5675), layer=11, texttype=0))
wordline_driver_array.add(gdstk.Label('in_11', (0.2325,19.7325), layer=11, texttype=0))
wordline_driver_array.add(gdstk.Label('wl_11', (1.84,19.3925), layer=11, texttype=0))
wordline_driver_array.add(gdstk.Label('in_12', (0.2325,20.5875), layer=11, texttype=0))
wordline_driver_array.add(gdstk.Label('wl_12', (1.84,20.9275), layer=11, texttype=0))
wordline_driver_array.add(gdstk.Label('in_13', (0.2325,23.0925), layer=11, texttype=0))
wordline_driver_array.add(gdstk.Label('wl_13', (1.84,22.7525), layer=11, texttype=0))
wordline_driver_array.add(gdstk.Label('in_14', (0.2325,23.9475), layer=11, texttype=0))
wordline_driver_array.add(gdstk.Label('wl_14', (1.84,24.2875), layer=11, texttype=0))
wordline_driver_array.add(gdstk.Label('in_15', (0.2325,26.4525), layer=11, texttype=0))
wordline_driver_array.add(gdstk.Label('wl_15', (1.84,26.1125), layer=11, texttype=0))
wordline_driver_array.add(gdstk.Label('vdd', (2.69,18.48), layer=15, texttype=0))
wordline_driver_array.add(gdstk.Label('vdd', (2.69,15.12), layer=15, texttype=0))
wordline_driver_array.add(gdstk.Label('vdd', (2.69,15.12), layer=15, texttype=0))
wordline_driver_array.add(gdstk.Label('vdd', (2.69,21.84), layer=15, texttype=0))
wordline_driver_array.add(gdstk.Label('vdd', (2.69,5.04), layer=15, texttype=0))
wordline_driver_array.add(gdstk.Label('vdd', (2.69,5.04), layer=15, texttype=0))
wordline_driver_array.add(gdstk.Label('vdd', (2.69,1.68), layer=15, texttype=0))
wordline_driver_array.add(gdstk.Label('vdd', (2.69,1.68), layer=15, texttype=0))
wordline_driver_array.add(gdstk.Label('vdd', (2.69,25.2), layer=15, texttype=0))
wordline_driver_array.add(gdstk.Label('vdd', (2.69,8.4), layer=15, texttype=0))
wordline_driver_array.add(gdstk.Label('vdd', (2.69,8.4), layer=15, texttype=0))
wordline_driver_array.add(gdstk.Label('vdd', (2.69,11.76), layer=15, texttype=0))
wordline_driver_array.add(gdstk.Label('gnd', (2.69,13.44), layer=15, texttype=0))
wordline_driver_array.add(gdstk.Label('gnd', (2.69,16.8), layer=15, texttype=0))
wordline_driver_array.add(gdstk.Label('gnd', (2.69,23.52), layer=15, texttype=0))
wordline_driver_array.add(gdstk.Label('gnd', (2.69,6.72), layer=15, texttype=0))
wordline_driver_array.add(gdstk.Label('gnd', (2.69,0), layer=15, texttype=0))
wordline_driver_array.add(gdstk.Label('gnd', (2.69,20.16), layer=15, texttype=0))
wordline_driver_array.add(gdstk.Label('gnd', (2.69,26.88), layer=15, texttype=0))
wordline_driver_array.add(gdstk.Label('gnd', (2.69,3.36), layer=15, texttype=0))
wordline_driver_array.add(gdstk.Label('gnd', (2.69,10.08), layer=15, texttype=0))

lib.write_gds('wordline_driver_array.gds')
